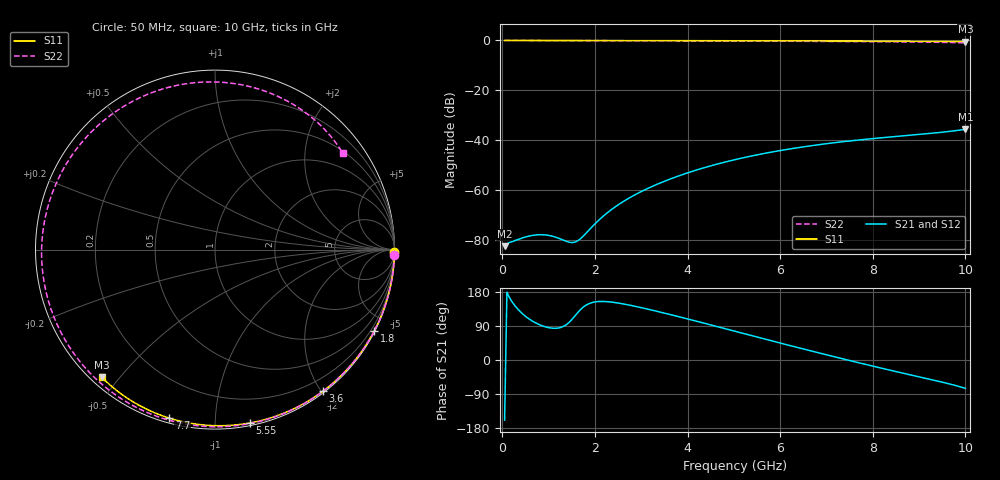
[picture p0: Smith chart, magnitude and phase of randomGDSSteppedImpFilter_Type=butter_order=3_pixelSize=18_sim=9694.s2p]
! freq	dB(S11)	phase(S11)	dB(S12)	phase(S12)
!  dB(S21)	phase(S21)	dB(S22)	phase(S22)
!S-par simulation data
#  GHz  S  DB  R 50
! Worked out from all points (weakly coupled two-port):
!   200 points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, 50 MHz to 10 GHz, reference 50 ohm
!   highest |S21| = -35.67 dB at 10 GHz (marker M1); lowest = -82.5 dB at 50 MHz (marker M2)
!   lowest |S11| = -0.4 dB at 10 GHz (marker M3), VSWR 39.43, Z = 1.52 - j22.5 ohm
!   |S11| at or under -10 dB: nowhere
!   |S22| runs from -1.0 to 0.0 dB; largest |S21 - S12| = 0
!   S11 on the Smith chart (normalised r, x): 50 MHz: open; 1.8 GHz: 0.04, -4.17; 3.6 GHz: 0.02, -2.02; 5.55 GHz: 0.02, -1.22; 7.7 GHz: 0.02, -0.77; 10 GHz: 0.03, -0.45
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0.05  -0.00 -0.8  -82.51 -158.7  -82.51 -158.7  -0.00 -1.6
0.85  -0.01 -12.9  -77.92 90.8  -77.92 90.8  -0.03 -27.2
1.35  -0.03 -20.3  -80.34 90.6  -80.34 90.6  -0.05 -42.9
1.65  -0.03 -24.7  -80.09 128.0  -80.09 128.0  -0.07 -52.1
1.75  -0.03 -26.2  -78.45 139.7  -78.45 139.7  -0.07 -55.1
1.8  -0.03 -27.0  -77.49 144.1  -77.49 144.1  -0.07 -56.6
2.15  -0.04 -32.1  -70.95 154.6  -70.95 154.6  -0.08 -67.2
2.5  -0.05 -37.1  -65.95 150.4  -65.95 150.4  -0.10 -77.5
3.4  -0.07 -49.9  -57.24 126.7  -57.24 126.7  -0.13 -103.3
3.6  -0.07 -52.7  -55.76 120.7  -55.76 120.7  -0.14 -109.0
4.3  -0.09 -62.3  -51.37 99.0  -51.37 99.0  -0.17 -128.4
5.05  -0.11 -72.3  -47.70 75.1  -47.70 75.1  -0.22 -149.2
5.55  -0.13 -78.7  -45.70 59.0  -45.70 59.0  -0.25 -163.2
6.15  -0.15 -86.3  -43.69 40.0  -43.69 40.0  -0.30 179.4
6.7  -0.18 -93.1  -42.15 22.9  -42.15 22.9  -0.35 162.7
7.2  -0.21 -99.2  -40.95 7.6  -40.95 7.6  -0.40 146.7
7.7  -0.24 -105.1  -39.92 -7.4  -39.92 -7.4  -0.46 129.8
8.35  -0.29 -112.7  -38.78 -26.3  -38.78 -26.3  -0.53 106.1
8.8  -0.32 -117.9  -38.06 -38.9  -38.06 -38.9  -0.60 88.6
9.2  -0.36 -122.5  -37.38 -49.9  -37.38 -49.9  -0.67 72.2
9.6  -0.40 -127.1  -36.59 -61.4  -36.59 -61.4  -0.78 55.1
10  -0.44 -131.6  -35.67 -74.7  -35.67 -74.7  -0.99 37.2
